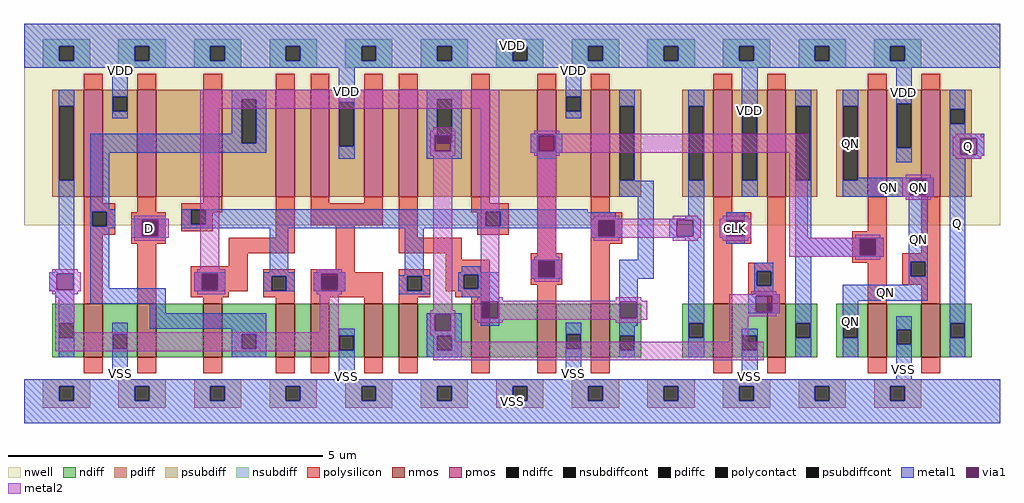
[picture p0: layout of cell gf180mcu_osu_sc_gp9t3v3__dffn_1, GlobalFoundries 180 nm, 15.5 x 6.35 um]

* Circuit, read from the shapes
.subckt gf180mcu_osu_sc_gp9t3v3__dffn_1 D Q QN CLK VDD VSS
XM1 VSS n1 n2 VSS nfet_03v3 w=0.85u l=0.3u
XM2 n3 D VSS VSS nfet_03v3 w=0.85u l=0.3u
XM3 n1 n4 n3 VSS nfet_03v3 w=0.85u l=0.3u
XM4 n5 n6 n1 VSS nfet_03v3 w=0.85u l=0.3u
XM5 VSS n2 n5 VSS nfet_03v3 w=0.85u l=0.3u
XM6 n7 n2 VSS VSS nfet_03v3 w=0.85u l=0.3u
XM7 n8 n6 n7 VSS nfet_03v3 w=0.85u l=0.3u
XM8 n9 n4 n8 VSS nfet_03v3 w=0.85u l=0.3u
XM9 VSS n10 n9 VSS nfet_03v3 w=0.85u l=0.3u
XM10 n4 n6 VSS VSS nfet_03v3 w=0.85u l=0.3u
XM11 VSS CLK n6 VSS nfet_03v3 w=0.85u l=0.3u
XM12 n10 n8 VSS VSS nfet_03v3 w=0.85u l=0.3u
XM13 VSS n10 QN VSS nfet_03v3 w=0.85u l=0.3u
XM14 Q QN VSS VSS nfet_03v3 w=0.85u l=0.3u
XM15 VDD n1 n2 VDD pfet_03v3 w=1.7u l=0.3u
XM16 n11 D VDD VDD pfet_03v3 w=1.7u l=0.3u
XM17 n1 n6 n11 VDD pfet_03v3 w=1.7u l=0.3u
XM18 n12 n4 n1 VDD pfet_03v3 w=1.7u l=0.3u
XM19 VDD n2 n12 VDD pfet_03v3 w=1.7u l=0.3u
XM20 n13 n2 VDD VDD pfet_03v3 w=1.7u l=0.3u
XM21 n8 n4 n13 VDD pfet_03v3 w=1.7u l=0.3u
XM22 n14 n6 n8 VDD pfet_03v3 w=1.7u l=0.3u
XM23 VDD n10 n14 VDD pfet_03v3 w=1.7u l=0.3u
XM24 n4 n6 VDD VDD pfet_03v3 w=1.7u l=0.3u
XM25 VDD CLK n6 VDD pfet_03v3 w=1.7u l=0.3u
XM26 n10 n8 VDD VDD pfet_03v3 w=1.7u l=0.3u
XM27 VDD n10 QN VDD pfet_03v3 w=1.7u l=0.3u
XM28 Q QN VDD VDD pfet_03v3 w=1.7u l=0.3u
.ends

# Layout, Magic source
magic
tech gf180mcuA
magscale 1 10
<< nwell >>
rect 0 630 3100 1270
<< nmos >>
rect 190 210 250 380
rect 360 210 420 380
rect 570 210 630 380
rect 800 210 860 380
rect 910 210 970 380
rect 1080 210 1140 380
rect 1190 210 1250 380
rect 1420 210 1480 380
rect 1630 210 1690 380
rect 1800 210 1860 380
rect 2190 210 2250 380
rect 2360 210 2420 380
rect 2680 210 2740 380
rect 2850 210 2910 380
<< pmos >>
rect 190 720 250 1060
rect 360 720 420 1060
rect 570 720 630 1060
rect 800 720 860 1060
rect 910 720 970 1060
rect 1080 720 1140 1060
rect 1190 720 1250 1060
rect 1420 720 1480 1060
rect 1630 720 1690 1060
rect 1800 720 1860 1060
rect 2190 720 2250 1060
rect 2360 720 2420 1060
rect 2680 720 2740 1060
rect 2850 720 2910 1060
<< ndiff >>
rect 90 318 190 380
rect 90 272 112 318
rect 158 272 190 318
rect 90 210 190 272
rect 250 283 360 380
rect 250 237 282 283
rect 328 237 360 283
rect 250 210 360 237
rect 420 210 570 380
rect 630 283 800 380
rect 630 237 692 283
rect 738 237 800 283
rect 630 210 800 237
rect 860 210 910 380
rect 970 278 1080 380
rect 970 232 1002 278
rect 1048 232 1080 278
rect 970 210 1080 232
rect 1140 210 1190 380
rect 1250 278 1420 380
rect 1250 232 1312 278
rect 1358 232 1420 278
rect 1250 210 1420 232
rect 1480 210 1630 380
rect 1690 283 1800 380
rect 1690 237 1722 283
rect 1768 237 1800 283
rect 1690 210 1800 237
rect 1860 278 1960 380
rect 1860 232 1892 278
rect 1938 232 1960 278
rect 1860 210 1960 232
rect 2090 318 2190 380
rect 2090 272 2112 318
rect 2158 272 2190 318
rect 2090 210 2190 272
rect 2250 278 2360 380
rect 2250 232 2282 278
rect 2328 232 2360 278
rect 2250 210 2360 232
rect 2420 318 2520 380
rect 2420 272 2452 318
rect 2498 272 2520 318
rect 2420 210 2520 272
rect 2580 318 2680 380
rect 2580 272 2602 318
rect 2648 272 2680 318
rect 2580 210 2680 272
rect 2740 298 2850 380
rect 2740 252 2772 298
rect 2818 252 2850 298
rect 2740 210 2850 252
rect 2910 318 3010 380
rect 2910 272 2942 318
rect 2988 272 3010 318
rect 2910 210 3010 272
<< pdiff >>
rect 90 1007 190 1060
rect 90 773 112 1007
rect 158 773 190 1007
rect 90 720 190 773
rect 250 1038 360 1060
rect 250 992 282 1038
rect 328 992 360 1038
rect 250 720 360 992
rect 420 720 570 1060
rect 630 1030 800 1060
rect 630 890 692 1030
rect 738 890 800 1030
rect 630 720 800 890
rect 860 720 910 1060
rect 970 1020 1080 1060
rect 970 880 1002 1020
rect 1048 880 1080 1020
rect 970 720 1080 880
rect 1140 720 1190 1060
rect 1250 1030 1420 1060
rect 1250 890 1312 1030
rect 1358 890 1420 1030
rect 1250 720 1420 890
rect 1480 720 1630 1060
rect 1690 1038 1800 1060
rect 1690 992 1722 1038
rect 1768 992 1800 1038
rect 1690 720 1800 992
rect 1860 1007 1960 1060
rect 1860 773 1892 1007
rect 1938 773 1960 1007
rect 1860 720 1960 773
rect 2090 1007 2190 1060
rect 2090 773 2112 1007
rect 2158 773 2190 1007
rect 2090 720 2190 773
rect 2250 1007 2360 1060
rect 2250 773 2282 1007
rect 2328 773 2360 1007
rect 2250 720 2360 773
rect 2420 1007 2520 1060
rect 2420 773 2452 1007
rect 2498 773 2520 1007
rect 2420 720 2520 773
rect 2580 1007 2680 1060
rect 2580 773 2602 1007
rect 2648 773 2680 1007
rect 2580 720 2680 773
rect 2740 1015 2850 1060
rect 2740 875 2772 1015
rect 2818 875 2850 1015
rect 2740 720 2850 875
rect 2910 998 3010 1060
rect 2910 952 2942 998
rect 2988 952 3010 998
rect 2910 720 3010 952
<< ndiffc >>
rect 112 272 158 318
rect 282 237 328 283
rect 692 237 738 283
rect 1002 232 1048 278
rect 1312 232 1358 278
rect 1722 237 1768 283
rect 1892 232 1938 278
rect 2112 272 2158 318
rect 2282 232 2328 278
rect 2452 272 2498 318
rect 2602 272 2648 318
rect 2772 252 2818 298
rect 2942 272 2988 318
<< pdiffc >>
rect 112 773 158 1007
rect 282 992 328 1038
rect 692 890 738 1030
rect 1002 880 1048 1020
rect 1312 890 1358 1030
rect 1722 992 1768 1038
rect 1892 773 1938 1007
rect 2112 773 2158 1007
rect 2282 773 2328 1007
rect 2452 773 2498 1007
rect 2602 773 2648 1007
rect 2772 875 2818 1015
rect 2942 952 2988 998
<< psubdiff >>
rect 60 118 210 140
rect 60 72 112 118
rect 158 72 210 118
rect 60 50 210 72
rect 300 118 450 140
rect 300 72 352 118
rect 398 72 450 118
rect 300 50 450 72
rect 540 118 690 140
rect 540 72 592 118
rect 638 72 690 118
rect 540 50 690 72
rect 780 118 930 140
rect 780 72 832 118
rect 878 72 930 118
rect 780 50 930 72
rect 1020 118 1170 140
rect 1020 72 1072 118
rect 1118 72 1170 118
rect 1020 50 1170 72
rect 1260 118 1410 140
rect 1260 72 1312 118
rect 1358 72 1410 118
rect 1260 50 1410 72
rect 1500 118 1650 140
rect 1500 72 1552 118
rect 1598 72 1650 118
rect 1500 50 1650 72
rect 1740 118 1890 140
rect 1740 72 1792 118
rect 1838 72 1890 118
rect 1740 50 1890 72
rect 1980 118 2130 140
rect 1980 72 2032 118
rect 2078 72 2130 118
rect 1980 50 2130 72
rect 2220 118 2370 140
rect 2220 72 2272 118
rect 2318 72 2370 118
rect 2220 50 2370 72
rect 2460 118 2610 140
rect 2460 72 2512 118
rect 2558 72 2610 118
rect 2460 50 2610 72
rect 2700 118 2850 140
rect 2700 72 2752 118
rect 2798 72 2850 118
rect 2700 50 2850 72
<< nsubdiff >>
rect 60 1198 210 1220
rect 60 1152 112 1198
rect 158 1152 210 1198
rect 60 1130 210 1152
rect 300 1198 450 1220
rect 300 1152 352 1198
rect 398 1152 450 1198
rect 300 1130 450 1152
rect 540 1198 690 1220
rect 540 1152 592 1198
rect 638 1152 690 1198
rect 540 1130 690 1152
rect 780 1198 930 1220
rect 780 1152 832 1198
rect 878 1152 930 1198
rect 780 1130 930 1152
rect 1020 1198 1170 1220
rect 1020 1152 1072 1198
rect 1118 1152 1170 1198
rect 1020 1130 1170 1152
rect 1260 1198 1410 1220
rect 1260 1152 1312 1198
rect 1358 1152 1410 1198
rect 1260 1130 1410 1152
rect 1500 1198 1650 1220
rect 1500 1152 1552 1198
rect 1598 1152 1650 1198
rect 1500 1130 1650 1152
rect 1740 1198 1890 1220
rect 1740 1152 1792 1198
rect 1838 1152 1890 1198
rect 1740 1130 1890 1152
rect 1980 1198 2130 1220
rect 1980 1152 2032 1198
rect 2078 1152 2130 1198
rect 1980 1130 2130 1152
rect 2220 1198 2370 1220
rect 2220 1152 2272 1198
rect 2318 1152 2370 1198
rect 2220 1130 2370 1152
rect 2460 1198 2610 1220
rect 2460 1152 2512 1198
rect 2558 1152 2610 1198
rect 2460 1130 2610 1152
rect 2700 1198 2850 1220
rect 2700 1152 2752 1198
rect 2798 1152 2850 1198
rect 2700 1130 2850 1152
<< psubdiffcont >>
rect 112 72 158 118
rect 352 72 398 118
rect 592 72 638 118
rect 832 72 878 118
rect 1072 72 1118 118
rect 1312 72 1358 118
rect 1552 72 1598 118
rect 1792 72 1838 118
rect 2032 72 2078 118
rect 2272 72 2318 118
rect 2512 72 2558 118
rect 2752 72 2798 118
<< nsubdiffcont >>
rect 112 1152 158 1198
rect 352 1152 398 1198
rect 592 1152 638 1198
rect 832 1152 878 1198
rect 1072 1152 1118 1198
rect 1312 1152 1358 1198
rect 1552 1152 1598 1198
rect 1792 1152 1838 1198
rect 2032 1152 2078 1198
rect 2272 1152 2318 1198
rect 2512 1152 2558 1198
rect 2752 1152 2798 1198
<< polysilicon >>
rect 190 1060 250 1110
rect 360 1060 420 1110
rect 570 1060 630 1110
rect 800 1060 860 1110
rect 910 1060 970 1110
rect 1080 1060 1140 1110
rect 1190 1060 1250 1110
rect 1420 1060 1480 1110
rect 1630 1060 1690 1110
rect 1800 1060 1860 1110
rect 2190 1060 2250 1110
rect 2360 1060 2420 1110
rect 2680 1060 2740 1110
rect 2850 1060 2910 1110
rect 190 700 250 720
rect 190 673 290 700
rect 190 627 217 673
rect 263 627 290 673
rect 360 670 420 720
rect 570 700 630 720
rect 500 678 630 700
rect 190 600 290 627
rect 340 643 450 670
rect 190 380 250 600
rect 340 597 377 643
rect 423 597 450 643
rect 500 632 532 678
rect 578 670 630 678
rect 578 632 600 670
rect 500 610 600 632
rect 340 570 450 597
rect 800 590 860 720
rect 910 700 970 720
rect 1080 700 1140 720
rect 910 630 1140 700
rect 360 380 420 570
rect 650 540 860 590
rect 650 500 710 540
rect 530 473 710 500
rect 990 490 1050 630
rect 1190 590 1250 720
rect 1420 700 1480 720
rect 1420 673 1540 700
rect 1420 670 1467 673
rect 1440 627 1467 670
rect 1513 627 1540 673
rect 1440 600 1540 627
rect 1190 540 1390 590
rect 1630 540 1690 720
rect 1800 670 1860 720
rect 2190 670 2250 720
rect 1800 643 1900 670
rect 1800 597 1827 643
rect 1873 597 1900 643
rect 1800 570 1900 597
rect 2190 643 2310 670
rect 2190 597 2237 643
rect 2283 597 2310 643
rect 2190 570 2310 597
rect 1340 520 1390 540
rect 530 427 567 473
rect 613 427 710 473
rect 530 420 710 427
rect 760 468 860 490
rect 760 422 787 468
rect 833 422 860 468
rect 530 400 650 420
rect 760 400 860 422
rect 570 380 630 400
rect 800 380 860 400
rect 910 480 1050 490
rect 910 468 1140 480
rect 910 422 947 468
rect 993 422 1140 468
rect 910 400 1140 422
rect 910 380 970 400
rect 1080 380 1140 400
rect 1190 468 1290 490
rect 1190 422 1217 468
rect 1263 422 1290 468
rect 1190 400 1290 422
rect 1340 473 1480 520
rect 1340 427 1397 473
rect 1443 427 1480 473
rect 1610 513 1710 540
rect 1610 467 1637 513
rect 1683 467 1710 513
rect 1610 440 1710 467
rect 1340 420 1480 427
rect 1370 400 1480 420
rect 1190 380 1250 400
rect 1420 380 1480 400
rect 1630 380 1690 440
rect 1800 380 1860 570
rect 2190 380 2250 570
rect 2360 510 2420 720
rect 2680 610 2740 720
rect 2630 583 2740 610
rect 2630 537 2657 583
rect 2703 537 2740 583
rect 2850 540 2910 720
rect 2630 510 2740 537
rect 2300 483 2420 510
rect 2300 437 2327 483
rect 2373 437 2420 483
rect 2300 410 2420 437
rect 2360 380 2420 410
rect 2680 380 2740 510
rect 2790 513 2910 540
rect 2790 467 2817 513
rect 2863 467 2910 513
rect 2790 440 2910 467
rect 2850 380 2910 440
rect 190 160 250 210
rect 360 160 420 210
rect 570 160 630 210
rect 800 160 860 210
rect 910 160 970 210
rect 1080 160 1140 210
rect 1190 160 1250 210
rect 1420 160 1480 210
rect 1630 160 1690 210
rect 1800 160 1860 210
rect 2190 160 2250 210
rect 2360 160 2420 210
rect 2680 160 2740 210
rect 2850 160 2910 210
<< polycontact >>
rect 217 627 263 673
rect 377 597 423 643
rect 532 632 578 678
rect 1467 627 1513 673
rect 1827 597 1873 643
rect 2237 597 2283 643
rect 567 427 613 473
rect 787 422 833 468
rect 947 422 993 468
rect 1217 422 1263 468
rect 1397 427 1443 473
rect 1637 467 1683 513
rect 2657 537 2703 583
rect 2327 437 2373 483
rect 2817 467 2863 513
<< metal1 >>
rect 0 1198 3100 1270
rect 0 1152 112 1198
rect 158 1152 352 1198
rect 398 1152 592 1198
rect 638 1152 832 1198
rect 878 1152 1072 1198
rect 1118 1152 1312 1198
rect 1358 1152 1552 1198
rect 1598 1152 1792 1198
rect 1838 1152 2032 1198
rect 2078 1152 2272 1198
rect 2318 1152 2512 1198
rect 2558 1152 2752 1198
rect 2798 1152 3100 1198
rect 0 1130 3100 1152
rect 110 1007 160 1060
rect 110 773 112 1007
rect 158 773 160 1007
rect 280 1038 330 1130
rect 280 992 282 1038
rect 328 992 330 1038
rect 280 970 330 992
rect 660 1030 770 1060
rect 660 920 692 1030
rect 110 490 160 773
rect 100 480 160 490
rect 80 476 160 480
rect 80 424 104 476
rect 156 424 160 476
rect 80 420 160 424
rect 100 400 160 420
rect 110 318 160 400
rect 210 890 692 920
rect 738 890 770 1030
rect 210 860 770 890
rect 1000 1020 1050 1130
rect 1000 880 1002 1020
rect 1048 880 1050 1020
rect 210 680 270 860
rect 1000 840 1050 880
rect 1280 1030 1390 1060
rect 1280 916 1312 1030
rect 1280 864 1304 916
rect 1358 890 1390 1030
rect 1720 1038 1770 1130
rect 1720 992 1722 1038
rect 1768 992 1770 1038
rect 1720 970 1770 992
rect 1890 1007 1940 1060
rect 1356 864 1390 890
rect 1280 840 1390 864
rect 1610 916 1710 920
rect 1610 864 1634 916
rect 1686 864 1710 916
rect 1610 860 1710 864
rect 1630 840 1690 860
rect 1890 773 1892 1007
rect 1938 773 1940 1007
rect 1890 770 1940 773
rect 2110 1007 2160 1060
rect 2110 773 2112 1007
rect 2158 773 2160 1007
rect 1890 720 2000 770
rect 210 673 290 680
rect 210 627 217 673
rect 263 627 290 673
rect 500 678 1790 680
rect 210 620 290 627
rect 350 646 450 650
rect 210 430 270 620
rect 350 594 374 646
rect 426 594 450 646
rect 500 632 532 678
rect 578 673 1790 678
rect 578 632 1467 673
rect 500 627 1467 632
rect 1513 670 1790 673
rect 1513 650 1880 670
rect 1513 646 1900 650
rect 1513 627 1824 646
rect 500 620 1824 627
rect 350 590 450 594
rect 780 480 840 620
rect 940 480 1000 490
rect 540 476 640 480
rect 210 380 450 430
rect 540 424 564 476
rect 616 424 640 476
rect 540 420 640 424
rect 760 468 860 480
rect 760 422 787 468
rect 833 422 860 468
rect 760 420 860 422
rect 920 476 1020 480
rect 920 424 944 476
rect 996 424 1020 476
rect 1210 470 1270 620
rect 1800 594 1824 620
rect 1876 594 1900 646
rect 1800 590 1900 594
rect 1950 520 2000 720
rect 2110 660 2160 773
rect 2280 1007 2330 1130
rect 2280 773 2282 1007
rect 2328 773 2330 1007
rect 2280 720 2330 773
rect 2450 1007 2500 1060
rect 2450 773 2452 1007
rect 2498 773 2500 1007
rect 2100 650 2160 660
rect 2050 646 2160 650
rect 2050 594 2074 646
rect 2126 594 2160 646
rect 2050 590 2160 594
rect 2100 580 2160 590
rect 1610 516 1710 520
rect 1390 480 1450 500
rect 1380 473 1510 480
rect 920 422 947 424
rect 993 422 1020 424
rect 920 420 1020 422
rect 1190 468 1290 470
rect 1190 422 1217 468
rect 1263 422 1290 468
rect 1190 410 1290 422
rect 1380 427 1397 473
rect 1443 427 1510 473
rect 1610 464 1634 516
rect 1686 464 1710 516
rect 1610 460 1710 464
rect 1890 460 2000 520
rect 1380 420 1510 427
rect 1390 400 1510 420
rect 400 350 450 380
rect 1450 386 1510 400
rect 110 272 112 318
rect 158 272 160 318
rect 110 210 160 272
rect 280 283 330 320
rect 400 300 770 350
rect 1280 346 1390 350
rect 280 237 282 283
rect 328 237 330 283
rect 280 140 330 237
rect 660 283 770 300
rect 660 237 692 283
rect 738 237 770 283
rect 660 210 770 237
rect 1000 278 1050 300
rect 1000 232 1002 278
rect 1048 232 1050 278
rect 1000 140 1050 232
rect 1280 294 1304 346
rect 1356 294 1390 346
rect 1450 334 1454 386
rect 1506 334 1510 386
rect 1450 310 1510 334
rect 1890 386 1950 460
rect 1890 334 1894 386
rect 1946 334 1950 386
rect 1280 278 1390 294
rect 1280 232 1312 278
rect 1358 232 1390 278
rect 1280 210 1390 232
rect 1720 283 1770 320
rect 1720 237 1722 283
rect 1768 237 1770 283
rect 1720 140 1770 237
rect 1890 310 1950 334
rect 2110 318 2160 580
rect 2230 646 2290 670
rect 2230 594 2234 646
rect 2286 594 2290 646
rect 2230 570 2290 594
rect 2450 590 2500 773
rect 2600 1007 2650 1060
rect 2600 773 2602 1007
rect 2648 780 2650 1007
rect 2770 1015 2820 1130
rect 2770 875 2772 1015
rect 2818 875 2820 1015
rect 2770 830 2820 875
rect 2940 998 2990 1060
rect 2940 952 2942 998
rect 2988 952 2990 998
rect 2940 920 2990 952
rect 2940 906 3050 920
rect 2940 854 2974 906
rect 3026 854 3050 906
rect 2940 850 3050 854
rect 2940 840 3040 850
rect 2648 776 2890 780
rect 2648 773 2814 776
rect 2600 724 2814 773
rect 2866 724 2890 776
rect 2600 720 2890 724
rect 2450 586 2730 590
rect 2450 534 2654 586
rect 2706 534 2730 586
rect 2450 530 2730 534
rect 2320 483 2380 510
rect 2320 437 2327 483
rect 2373 437 2380 483
rect 2320 410 2380 437
rect 2300 406 2400 410
rect 2300 354 2324 406
rect 2376 354 2400 406
rect 2300 350 2400 354
rect 1890 278 1940 310
rect 1890 232 1892 278
rect 1938 232 1940 278
rect 1890 210 1940 232
rect 2110 272 2112 318
rect 2158 272 2160 318
rect 2450 318 2500 530
rect 2810 513 2870 720
rect 2810 467 2817 513
rect 2863 467 2870 513
rect 2810 440 2870 467
rect 2110 210 2160 272
rect 2280 278 2330 300
rect 2280 232 2282 278
rect 2328 232 2330 278
rect 2280 140 2330 232
rect 2450 272 2452 318
rect 2498 272 2500 318
rect 2450 210 2500 272
rect 2600 390 2870 440
rect 2600 318 2650 390
rect 2600 272 2602 318
rect 2648 272 2650 318
rect 2600 210 2650 272
rect 2770 298 2820 340
rect 2770 252 2772 298
rect 2818 252 2820 298
rect 2770 140 2820 252
rect 2940 318 2990 840
rect 2940 272 2942 318
rect 2988 272 2990 318
rect 2940 210 2990 272
rect 0 118 3100 140
rect 0 72 112 118
rect 158 72 352 118
rect 398 72 592 118
rect 638 72 832 118
rect 878 72 1072 118
rect 1118 72 1312 118
rect 1358 72 1552 118
rect 1598 72 1792 118
rect 1838 72 2032 118
rect 2078 72 2272 118
rect 2318 72 2512 118
rect 2558 72 2752 118
rect 2798 72 3100 118
rect 0 0 3100 72
<< via1 >>
rect 104 424 156 476
rect 1304 890 1312 916
rect 1312 890 1356 916
rect 1304 864 1356 890
rect 1634 864 1686 916
rect 374 643 426 646
rect 374 597 377 643
rect 377 597 423 643
rect 423 597 426 643
rect 374 594 426 597
rect 1824 643 1876 646
rect 564 473 616 476
rect 564 427 567 473
rect 567 427 613 473
rect 613 427 616 473
rect 564 424 616 427
rect 944 468 996 476
rect 944 424 947 468
rect 947 424 993 468
rect 993 424 996 468
rect 1824 597 1827 643
rect 1827 597 1873 643
rect 1873 597 1876 643
rect 1824 594 1876 597
rect 2074 594 2126 646
rect 1634 513 1686 516
rect 1634 467 1637 513
rect 1637 467 1683 513
rect 1683 467 1686 513
rect 1634 464 1686 467
rect 1304 294 1356 346
rect 1454 334 1506 386
rect 1894 334 1946 386
rect 2234 643 2286 646
rect 2234 597 2237 643
rect 2237 597 2283 643
rect 2283 597 2286 643
rect 2234 594 2286 597
rect 2974 854 3026 906
rect 2814 724 2866 776
rect 2654 583 2706 586
rect 2654 537 2657 583
rect 2657 537 2703 583
rect 2703 537 2706 583
rect 2654 534 2706 537
rect 2324 354 2376 406
<< metal2 >>
rect 560 1000 1510 1060
rect 350 650 450 660
rect 340 646 460 650
rect 340 594 374 646
rect 426 594 460 646
rect 340 590 460 594
rect 350 580 450 590
rect 560 490 620 1000
rect 1300 930 1360 940
rect 1290 916 1370 930
rect 1290 864 1304 916
rect 1356 864 1370 916
rect 1290 850 1370 864
rect 90 480 170 490
rect 550 480 640 490
rect 930 480 1010 490
rect 80 476 180 480
rect 80 424 104 476
rect 156 424 180 476
rect 80 420 180 424
rect 540 476 640 480
rect 540 424 564 476
rect 616 424 640 476
rect 540 420 640 424
rect 920 476 1020 480
rect 920 424 944 476
rect 996 424 1020 476
rect 920 420 1020 424
rect 90 410 170 420
rect 550 410 640 420
rect 930 410 1010 420
rect 100 290 160 410
rect 940 290 1000 410
rect 1300 360 1360 850
rect 1450 400 1510 1000
rect 1620 920 1700 930
rect 1610 916 2490 920
rect 1610 864 1634 916
rect 1686 864 2490 916
rect 2960 910 3040 920
rect 1610 860 2490 864
rect 1620 850 1700 860
rect 1630 530 1690 850
rect 1810 650 1890 660
rect 2060 650 2140 660
rect 2220 650 2300 660
rect 1800 646 2150 650
rect 1800 594 1824 646
rect 1876 594 2074 646
rect 2126 594 2150 646
rect 1800 590 2150 594
rect 2210 646 2310 650
rect 2210 594 2234 646
rect 2286 594 2310 646
rect 2210 590 2310 594
rect 2430 590 2490 860
rect 2950 906 3050 910
rect 2950 854 2974 906
rect 3026 854 3050 906
rect 2950 850 3050 854
rect 2960 840 3040 850
rect 2800 780 2880 790
rect 2790 776 2890 780
rect 2790 724 2814 776
rect 2866 724 2890 776
rect 2790 720 2890 724
rect 2800 710 2880 720
rect 2640 590 2720 600
rect 1810 580 1890 590
rect 2060 580 2140 590
rect 2220 580 2300 590
rect 2430 586 2730 590
rect 2430 534 2654 586
rect 2706 534 2730 586
rect 2430 530 2730 534
rect 1620 520 1700 530
rect 2640 520 2720 530
rect 1610 516 1710 520
rect 1610 464 1634 516
rect 1686 464 1710 516
rect 1610 460 1710 464
rect 1620 450 1700 460
rect 2310 410 2390 420
rect 2240 406 2400 410
rect 1440 390 1520 400
rect 1880 390 1960 400
rect 1430 386 1980 390
rect 100 230 1000 290
rect 1290 346 1370 360
rect 1290 294 1304 346
rect 1356 294 1370 346
rect 1430 334 1454 386
rect 1506 334 1894 386
rect 1946 334 1980 386
rect 1430 330 1980 334
rect 2240 354 2324 406
rect 2376 354 2400 406
rect 2240 350 2400 354
rect 2240 340 2390 350
rect 1440 320 1520 330
rect 1880 320 1960 330
rect 1290 280 1370 294
rect 1300 260 1370 280
rect 2240 260 2300 340
rect 1300 200 2350 260
<< labels >>
rlabel via1 s 374 594 426 646 4 D
port 1 nsew signal input
rlabel via1 s 2974 854 3026 906 4 Q
port 2 nsew signal output
rlabel via1 s 2814 724 2866 776 4 QN
port 3 nsew signal output
rlabel via1 s 2234 594 2286 646 4 CLK
port 4 nsew clock input
rlabel metal1 s 280 970 330 1270 4 VDD
port 5 nsew power bidirectional abutment
rlabel metal1 s 280 0 330 320 4 VSS
port 6 nsew ground bidirectional abutment
rlabel metal1 s 1000 840 1050 1270 1 VDD
port 5 nsew power bidirectional abutment
rlabel metal1 s 1720 970 1770 1270 1 VDD
port 5 nsew power bidirectional abutment
rlabel metal1 s 2280 720 2330 1270 1 VDD
port 5 nsew power bidirectional abutment
rlabel metal1 s 2770 830 2820 1270 1 VDD
port 5 nsew power bidirectional abutment
rlabel metal1 s 0 1130 3100 1270 1 VDD
port 5 nsew power bidirectional abutment
rlabel metal1 s 1000 0 1050 300 1 VSS
port 6 nsew ground bidirectional abutment
rlabel metal1 s 1720 0 1770 320 1 VSS
port 6 nsew ground bidirectional abutment
rlabel metal1 s 2280 0 2330 300 1 VSS
port 6 nsew ground bidirectional abutment
rlabel metal1 s 2770 0 2820 340 1 VSS
port 6 nsew ground bidirectional abutment
rlabel metal1 s 0 0 3100 140 1 VSS
port 6 nsew ground bidirectional abutment
rlabel metal2 s 2220 580 2300 660 1 CLK
port 4 nsew clock input
rlabel metal2 s 2210 590 2310 650 1 CLK
port 4 nsew clock input
rlabel metal1 s 2230 570 2290 670 1 CLK
port 4 nsew clock input
rlabel metal2 s 350 580 450 660 1 D
port 1 nsew signal input
rlabel metal2 s 340 590 460 650 1 D
port 1 nsew signal input
rlabel metal1 s 350 590 450 650 1 D
port 1 nsew signal input
rlabel metal2 s 2960 840 3040 920 1 Q
port 2 nsew signal output
rlabel metal2 s 2950 850 3050 910 1 Q
port 2 nsew signal output
rlabel metal1 s 2940 210 2990 1060 1 Q
port 2 nsew signal output
rlabel metal1 s 2940 840 3040 920 1 Q
port 2 nsew signal output
rlabel metal1 s 2940 850 3050 920 1 Q
port 2 nsew signal output
rlabel metal2 s 2800 710 2880 790 1 QN
port 3 nsew signal output
rlabel metal2 s 2790 720 2890 780 1 QN
port 3 nsew signal output
rlabel metal1 s 2600 210 2650 440 1 QN
port 3 nsew signal output
rlabel metal1 s 2600 720 2650 1060 1 QN
port 3 nsew signal output
rlabel metal1 s 2600 390 2870 440 1 QN
port 3 nsew signal output
rlabel metal1 s 2810 390 2870 780 1 QN
port 3 nsew signal output
rlabel metal1 s 2600 720 2890 780 1 QN
port 3 nsew signal output
<< properties >>
string FIXED_BBOX 0 0 3100 1270
string GDS_END 222238
string GDS_FILE $PDKPATH/libs.ref/gf180mcu_osu_sc_gp9t3v3/gds/gf180mcu_osu_sc_gp9t3v3.gds
string GDS_START 199408
string LEFclass CORE
string LEFsite gf180mcu_osu_sc_gp9t3v3
string LEFsymmetry X Y
<< end >>
